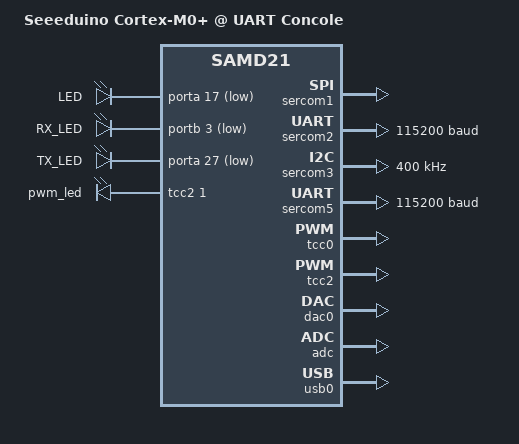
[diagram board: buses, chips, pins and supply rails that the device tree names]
/*
 * Copyright (c) 2023 TiaC Systems
 * SPDX-License-Identifier: Apache-2.0
 */

/dts-v1/;
#include <atmel/samd21.dtsi>
#include <atmel/samx2xx18.dtsi>
#include "seeeduino_cm0-pinctrl.dtsi"
#include "arduino_r3_connector.dtsi"
#include "grove_connectors.dtsi"

#include <zephyr/dt-bindings/gpio/gpio.h>
#include <zephyr/dt-bindings/pwm/pwm.h>

/ {
	model = "Seeeduino Cortex-M0+ @ UART Concole";
	compatible = "seeed,seeeduino-cm0", "seeed,seeeduino-cm0-uartcons";

	chosen {
		zephyr,console = &sercom2;
		zephyr,shell-uart = &sercom2;
		zephyr,sram = &sram0;
		zephyr,flash = &flash0;
		zephyr,code-partition = &code_partition;
	};

	leds {
		compatible = "gpio-leds";
		led: led_0 {
			gpios = <&porta 17 GPIO_ACTIVE_LOW>;
			label = "LED";
		};
		rx_led: led_1 {
			gpios = <&portb 3 GPIO_ACTIVE_LOW>;
			label = "RX_LED";
		};
		tx_led: led_2 {
			gpios = <&porta 27 GPIO_ACTIVE_LOW>;
			label = "TX_LED";
		};
	};

	pwmleds {
		compatible = "pwm-leds";
		pwm_led: pwm_led_0 {
			pwms = <&tcc2 1 PWM_MSEC(20)>;
		};
	};

	/* These aliases are provided for compatibility with samples. */
	aliases {
		led0 = &led;
		led1 = &rx_led;
		led2 = &tx_led;
		pwm-led0 = &pwm_led;
	};
};

&cpu0 {
	clock-frequency = <48000000>;
};

&sercom1 {
	status = "okay";
	compatible = "atmel,sam0-spi";
	dipo = <3>;
	dopo = <0>;
	#address-cells = <1>;
	#size-cells = <0>;

	// either: cs-gpios = <&porta 18 GPIO_ACTIVE_LOW>;
	//     or: pinctrl-0 = <&sercom1_spi_hwss>;

	pinctrl-0 = <&sercom1_spi_default>;
	pinctrl-names = "default";
};

&sercom2 {
	status = "okay";
	compatible = "atmel,sam0-uart";
	current-speed = <115200>;
	rxpo = <3>;
	txpo = <1>;

	pinctrl-0 = <&sercom2_uart_default>;
	pinctrl-names = "default";
};

&sercom3 {
	status = "okay";
	compatible = "atmel,sam0-i2c";
	clock-frequency = <I2C_BITRATE_FAST>;
	#address-cells = <1>;
	#size-cells = <0>;

	pinctrl-0 = <&sercom3_i2c_default>;
	pinctrl-names = "default";
};

&sercom5 {
	status = "okay";
	compatible = "atmel,sam0-uart";
	current-speed = <115200>;
	rxpo = <3>;
	txpo = <1>;

	pinctrl-0 = <&sercom5_uart_default>;
	pinctrl-names = "default";
};

&tcc0 {
	status = "okay";
	compatible = "atmel,sam0-tcc-pwm";
	prescaler = <1>;
	#pwm-cells = <2>;

	pinctrl-0 = <&tcc0_pwm_default>;
	pinctrl-names = "default";
};

&tcc2 {
	status = "okay";
	compatible = "atmel,sam0-tcc-pwm";
	/* Gives a maximum period of 1.4 s */
	prescaler = <1024>;
	#pwm-cells = <2>;

	pinctrl-0 = <&tcc2_pwm_default>;
	pinctrl-names = "default";
};

&dac0 {
	status = "okay";

	pinctrl-0 = <&dac_default>;
	pinctrl-names = "default";
};

&adc {
	status = "okay";

	pinctrl-0 = <&adc_default>;
	pinctrl-names = "default";
};

zephyr_udc0: &usb0 {
	status = "okay";

	pinctrl-0 = <&usb_dc_default>;
	pinctrl-names = "default";
};

&flash0 {
	partitions {
		compatible = "fixed-partitions";
		#address-cells = <1>;
		#size-cells = <1>;

		boot_partition: partition@0 {
			label = "sam-ba";
			reg = <0x00000000 DT_SIZE_K(8)>;
			read-only;
		};

		code_partition: partition@2000 {
			label = "code";
			reg = <0x2000 DT_SIZE_K(256-8-16)>;
			read-only;
		};

		/*
		 * The final 16 KiB is reserved for the application.
		 * Storage partition may be used by FCB or LittleFS.
		 */
		storage_partition: partition@3c000 {
			label = "storage";
			reg = <0x0003c000 DT_SIZE_K(16)>;
		};
	};
};
